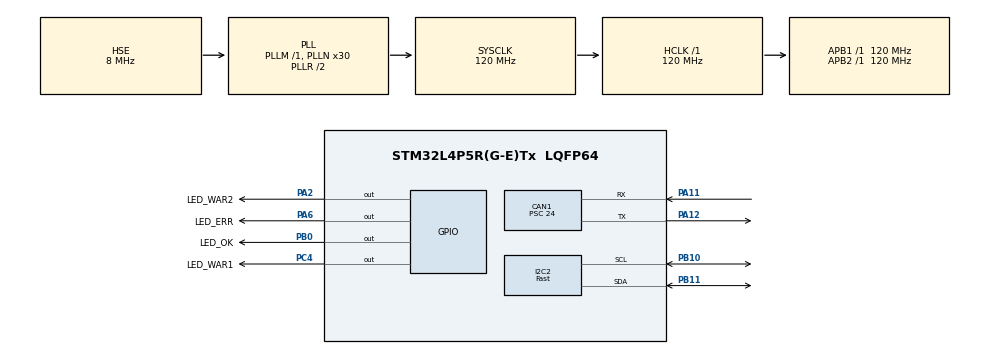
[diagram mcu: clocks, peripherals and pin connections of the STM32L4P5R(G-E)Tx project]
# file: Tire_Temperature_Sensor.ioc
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CAN1.BS1=CAN_BS1_3TQ
CAN1.BS2=CAN_BS2_1TQ
CAN1.CalculateBaudRate=1000000
CAN1.CalculateTimeBit=1000
CAN1.CalculateTimeQuantum=200.0
CAN1.Mode=CAN_MODE_NORMAL
CAN1.Prescaler=24
CAN1.SJW=CAN_SJW_1TQ
I2C2.I2C_Speed_Mode=I2C_Fast
I2C2.Speed=100
I2C2.Timing=0x302027FF
Mcu.Family=STM32L4
Mcu.Name=STM32L4P5R(G-E)Tx
Mcu.Package=LQFP64
NVIC.CAN1_RX0_IRQn=true\:0\:0\:false\:false\:true\:true\:true\:true
NVIC.CAN1_RX1_IRQn=true\:0\:0\:false\:false\:true\:true\:true\:true
NVIC.PriorityGroup=NVIC_PRIORITYGROUP_4
NVIC.TIM1_UP_TIM16_IRQn=true\:0\:0\:false\:false\:true\:true\:true\:true
PA11.Mode=CAN_Activate
PA11.Signal=CAN1_RX
PA12.Mode=CAN_Activate
PA12.Signal=CAN1_TX
PA13\ (JTMS/SWDIO).Mode=Trace_Asynchronous_SW
PA13\ (JTMS/SWDIO).Signal=SYS_JTMS-SWDIO
PA14\ (JTCK/SWCLK).Mode=Trace_Asynchronous_SW
PA14\ (JTCK/SWCLK).Signal=SYS_JTCK-SWCLK
PA2.GPIO_Label=LED_WAR2
PA2.Signal=GPIO_Output
PA6.GPIO_Label=LED_ERR
PA6.Signal=GPIO_Output
PB0.GPIO_Label=LED_OK
PB0.Signal=GPIO_Output
PB10.Mode=I2C
PB10.Signal=I2C2_SCL
PB11.Mode=I2C
PB11.Signal=I2C2_SDA
PB3\ (JTDO/TRACESWO).Mode=Trace_Asynchronous_SW
PB3\ (JTDO/TRACESWO).Signal=SYS_JTDO-SWO
PC4.GPIO_Label=LED_WAR1
PC4.Signal=GPIO_Output
PH0-OSC_IN\ (PH0).Mode=HSE-External-Oscillator
PH0-OSC_IN\ (PH0).Signal=RCC_OSC_IN
PH1-OSC_OUT\ (PH1).Mode=HSE-External-Oscillator
PH1-OSC_OUT\ (PH1).Signal=RCC_OSC_OUT
ProjectManager.HeapSize=0x200
ProjectManager.StackSize=0x400
ProjectManager.TargetToolchain=STM32CubeIDE
RCC.ADCFreq_Value=32000000
RCC.AHBFreq_Value=120000000
RCC.APB1Freq_Value=120000000
RCC.APB1TimFreq_Value=120000000
RCC.APB2Freq_Value=120000000
RCC.APB2TimFreq_Value=120000000
RCC.CortexFreq_Value=120000000
RCC.HCLKFreq_Value=120000000
RCC.HSE_VALUE=8000000
RCC.HSI48_VALUE=48000000
RCC.HSI_VALUE=16000000
RCC.LSE_VALUE=32768
RCC.MSI_VALUE=4000000
RCC.PLLN=30
RCC.PLLSourceVirtual=RCC_PLLSOURCE_HSE
RCC.SYSCLKFreq_VALUE=120000000
RCC.SYSCLKSource=RCC_SYSCLKSOURCE_PLLCLK
RCC.USBFreq_Value=32000000
RCC.VCOOutputFreq_Value=240000000
TIM1.Period=10000-1
TIM1.Prescaler=800-1
VP_TIM1_VS_ClockSourceINT.Mode=Internal
board=custom

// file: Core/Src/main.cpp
/* USER CODE BEGIN Header */
/**
  ******************************************************************************
  * @file           : main.c
  * @brief          : Main program body
  ******************************************************************************
  * @attention
  *
  * Copyright (c) 2022 STMicroelectronics.
  * All rights reserved.
  *
  * This software is licensed under terms that can be found in the LICENSE file
  * in the root directory of this software component.
  * If no LICENSE file comes with this software, it is provided AS-IS.
  *
  ******************************************************************************
  */
/* USER CODE END Header */
#include "main.h"
#include "can.h"
#include "i2c.h"
#include "tim.h"
#include "gpio.h"

/* USER CODE BEGIN Includes */

#include "MLX90621_API.h"
#include "can_interface.hpp"

/* USER CODE END Includes */

/* USER CODE BEGIN PV */

static constexpr float emissivity = 0.98f;
static constexpr float tr = 15.0f;

static volatile bool flagMlxReceive = false;
static volatile bool flagCanSend = false;

static uint8_t mlx90621ToAverage[8] = {0};
static uint8_t eeMLX90621[256];
static paramsMLX90621 mlx90621;
static uint16_t mlx90621Frame[66];
static float mlx90621To[64];

/* USER CODE END PV */

void SystemClock_Config(void);

/* USER CODE BEGIN 0 */

static void LED_Reset(){
	HAL_GPIO_WritePin(LED_OK_GPIO_Port, LED_OK_Pin, GPIO_PIN_RESET);
	HAL_GPIO_WritePin(LED_WAR1_GPIO_Port, LED_WAR1_Pin, GPIO_PIN_RESET);
	HAL_GPIO_WritePin(LED_WAR2_GPIO_Port, LED_WAR2_Pin, GPIO_PIN_RESET);
	HAL_GPIO_WritePin(LED_ERR_GPIO_Port, LED_ERR_Pin, GPIO_PIN_RESET);
}

static void MLX90621_Receive()
{
	if(MLX90621_GetFrameData(mlx90621Frame) != HAL_OK){
		  HAL_GPIO_WritePin(LED_ERR_GPIO_Port, LED_ERR_Pin, GPIO_PIN_SET);
		  return;
	}
	MLX90621_CalculateTo(mlx90621Frame, &mlx90621, emissivity, tr, mlx90621To);
	if(MLX90621_AverageTo(mlx90621To, mlx90621ToAverage)){
		  HAL_GPIO_WritePin(LED_WAR2_GPIO_Port, LED_WAR2_Pin, GPIO_PIN_SET);
	}
}

static void CAN_Send()
{
	PUTM_CAN::WheelTemp_main ttsMessage{
		  .wheelTemp = {
				  mlx90621ToAverage[0],
				  mlx90621ToAverage[1],
				  mlx90621ToAverage[2],
				  mlx90621ToAverage[3],
				  mlx90621ToAverage[4],
				  mlx90621ToAverage[5],
				  mlx90621ToAverage[6],
				  mlx90621ToAverage[7]
		  }
	};
	auto ttsMainFrame = PUTM_CAN::Can_tx_message<PUTM_CAN::WheelTemp_main>(ttsMessage, PUTM_CAN::can_tx_header_WHEELTEMP_MAIN);

	if(ttsMainFrame.send(hcan1) != HAL_OK){
		  HAL_GPIO_WritePin(LED_ERR_GPIO_Port, LED_ERR_Pin, GPIO_PIN_SET);
	}
	else{
		  HAL_GPIO_WritePin(LED_OK_GPIO_Port, LED_OK_Pin, GPIO_PIN_SET);
	}
}

/* USER CODE END 0 */

int main(void)
{

  /* MCU Configuration--------------------------------------------------------*/

  /* Reset of all peripherals, Initializes the Flash interface and the Systick. */
  HAL_Init();

  /* Configure the system clock */
  SystemClock_Config();

  /* Initialize all configured peripherals */
  MX_GPIO_Init();
  MX_CAN1_Init();
  MX_I2C2_Init();
  MX_TIM1_Init();
  /* USER CODE BEGIN 2 */

  if(HAL_CAN_Start(&hcan1) != HAL_OK ||
     HAL_CAN_ActivateNotification(&hcan1, CAN_IT_RX_FIFO0_MSG_PENDING) != HAL_OK ||
     MLX90621_DumpEE(eeMLX90621)!= HAL_OK ||
	 MLX90621_Configure(eeMLX90621) != HAL_OK ||
	 MLX90621_ExtractParameters(eeMLX90621, &mlx90621) != HAL_OK ||
	 HAL_TIM_Base_Start_IT(&htim1) != HAL_OK)
  {
	  HAL_GPIO_WritePin(LED_ERR_GPIO_Port, LED_ERR_Pin, GPIO_PIN_SET);
	  return HAL_ERROR;
  }

  /* USER CODE END 2 */

  /* Infinite loop */
  /* USER CODE BEGIN WHILE */
  while (1){

	  if(flagMlxReceive == true){
		  LED_Reset();
		  MLX90621_Receive();
		  flagMlxReceive = false;
		  flagCanSend = true;
	  }

	  if(flagCanSend == true){
		  CAN_Send();
		  flagCanSend = false;
	  }

    /* USER CODE END WHILE */

  }
}

void SystemClock_Config(void)
{
  RCC_OscInitTypeDef RCC_OscInitStruct = {0};
  RCC_ClkInitTypeDef RCC_ClkInitStruct = {0};

  /** Configure the main internal regulator output voltage
  */
  if (HAL_PWREx_ControlVoltageScaling(PWR_REGULATOR_VOLTAGE_SCALE1_BOOST) != HAL_OK)
  {
    Error_Handler();
  }

  /** Initializes the RCC Oscillators according to the specified parameters
  * in the RCC_OscInitTypeDef structure.
  */
  RCC_OscInitStruct.OscillatorType = RCC_OSCILLATORTYPE_HSE;
  RCC_OscInitStruct.HSEState = RCC_HSE_ON;
  RCC_OscInitStruct.PLL.PLLState = RCC_PLL_ON;
  RCC_OscInitStruct.PLL.PLLSource = RCC_PLLSOURCE_HSE;
  RCC_OscInitStruct.PLL.PLLM = 1;
  RCC_OscInitStruct.PLL.PLLN = 30;
  RCC_OscInitStruct.PLL.PLLP = RCC_PLLP_DIV2;
  RCC_OscInitStruct.PLL.PLLQ = RCC_PLLQ_DIV2;
  RCC_OscInitStruct.PLL.PLLR = RCC_PLLR_DIV2;
  if (HAL_RCC_OscConfig(&RCC_OscInitStruct) != HAL_OK)
  {
    Error_Handler();
  }

  /** Initializes the CPU, AHB and APB buses clocks
  */
  RCC_ClkInitStruct.ClockType = RCC_CLOCKTYPE_HCLK|RCC_CLOCKTYPE_SYSCLK
                              |RCC_CLOCKTYPE_PCLK1|RCC_CLOCKTYPE_PCLK2;
  RCC_ClkInitStruct.SYSCLKSource = RCC_SYSCLKSOURCE_PLLCLK;
  RCC_ClkInitStruct.AHBCLKDivider = RCC_SYSCLK_DIV1;
  RCC_ClkInitStruct.APB1CLKDivider = RCC_HCLK_DIV1;
  RCC_ClkInitStruct.APB2CLKDivider = RCC_HCLK_DIV1;

  if (HAL_RCC_ClockConfig(&RCC_ClkInitStruct, FLASH_LATENCY_5) != HAL_OK)
  {
    Error_Handler();
  }
}

/* USER CODE BEGIN 4 */

void HAL_TIM_PeriodElapsedCallback(TIM_HandleTypeDef *htim)
{
  if (htim == &htim1)
  {
	  flagMlxReceive = true;
  }
}

/* USER CODE END 4 */

void Error_Handler(void)
{
  __disable_irq();
  while (1)
  {
  }
}
